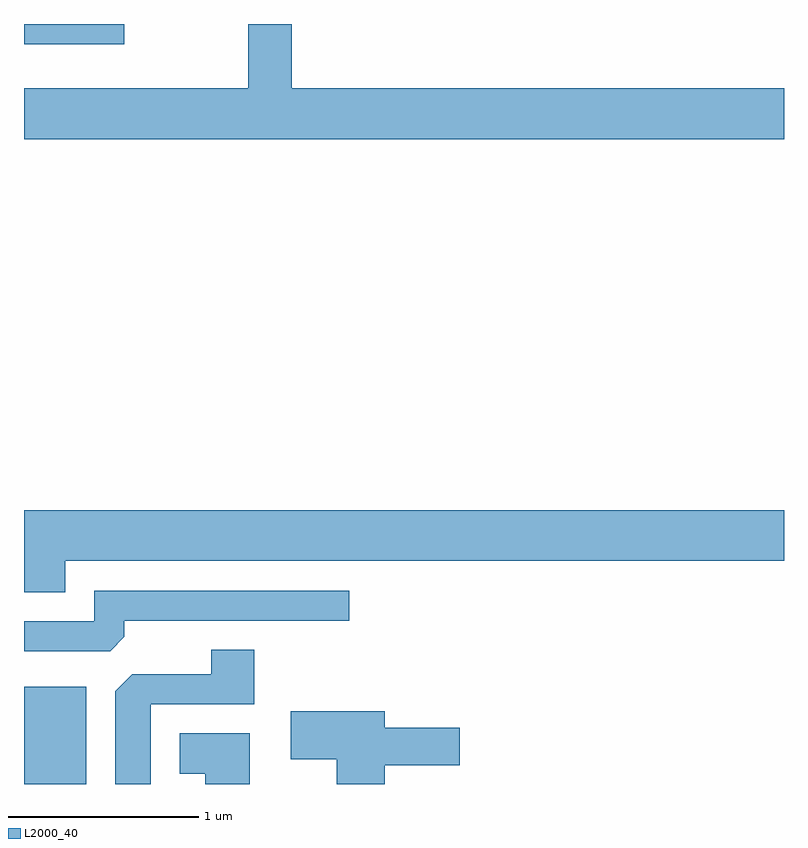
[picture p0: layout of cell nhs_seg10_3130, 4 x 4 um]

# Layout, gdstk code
import gdstk
lib = gdstk.Library(unit=1e-6, precision=1e-09)
def R(c, l, rs):  # rectangles x0, y0, x1, y1
    for r in rs: c.add(gdstk.rectangle(r[:2], r[2:], *l))
def P(c, l, *ps):  # polygons
    for p in ps: c.add(gdstk.Polygon(p, *l))
L2000_40 = (2000, 40)

nhs_seg10_3130 = lib.new_cell('nhs_seg10_3130')
R(nhs_seg10_3130, L2000_40, [(277.611,2110.522,277.939,2111.034), (277.611,2114.416,278.138,2114.522)])
P(nhs_seg10_3130, L2000_40, [(281.611,2114.184),(279.019,2114.184),(279.019,2114.522),(278.791,2114.522),(278.791,2114.184),(277.611,2114.184),(277.611,2113.916),(281.611,2113.916)],
  [(277.829,2111.696),(281.611,2111.696),(281.611,2111.964),(277.611,2111.964),(277.611,2111.531),(277.829,2111.531)],
  [(278.139,2111.297),(278.139,2111.381),(279.323,2111.381),(279.323,2111.539),(277.981,2111.539),(277.981,2111.379),(277.611,2111.379),(277.611,2111.221),(278.064,2111.221)],
  [(278.279,2110.941),(278.824,2110.941),(278.824,2111.229),(278.596,2111.229),(278.596,2111.099),(278.182,2111.099),(278.091,2111.009),(278.091,2110.522),(278.279,2110.522)],
  [(279.509,2110.621),(279.904,2110.621),(279.904,2110.819),(279.509,2110.819),(279.509,2110.904),(279.016,2110.904),(279.016,2110.651),(279.256,2110.651),(279.256,2110.522),(279.509,2110.522)],
  [(278.799,2110.789),(278.431,2110.789),(278.431,2110.576),(278.566,2110.576),(278.566,2110.522),(278.799,2110.522)])

lib.write_gds('nhs_seg10_3130.gds')
